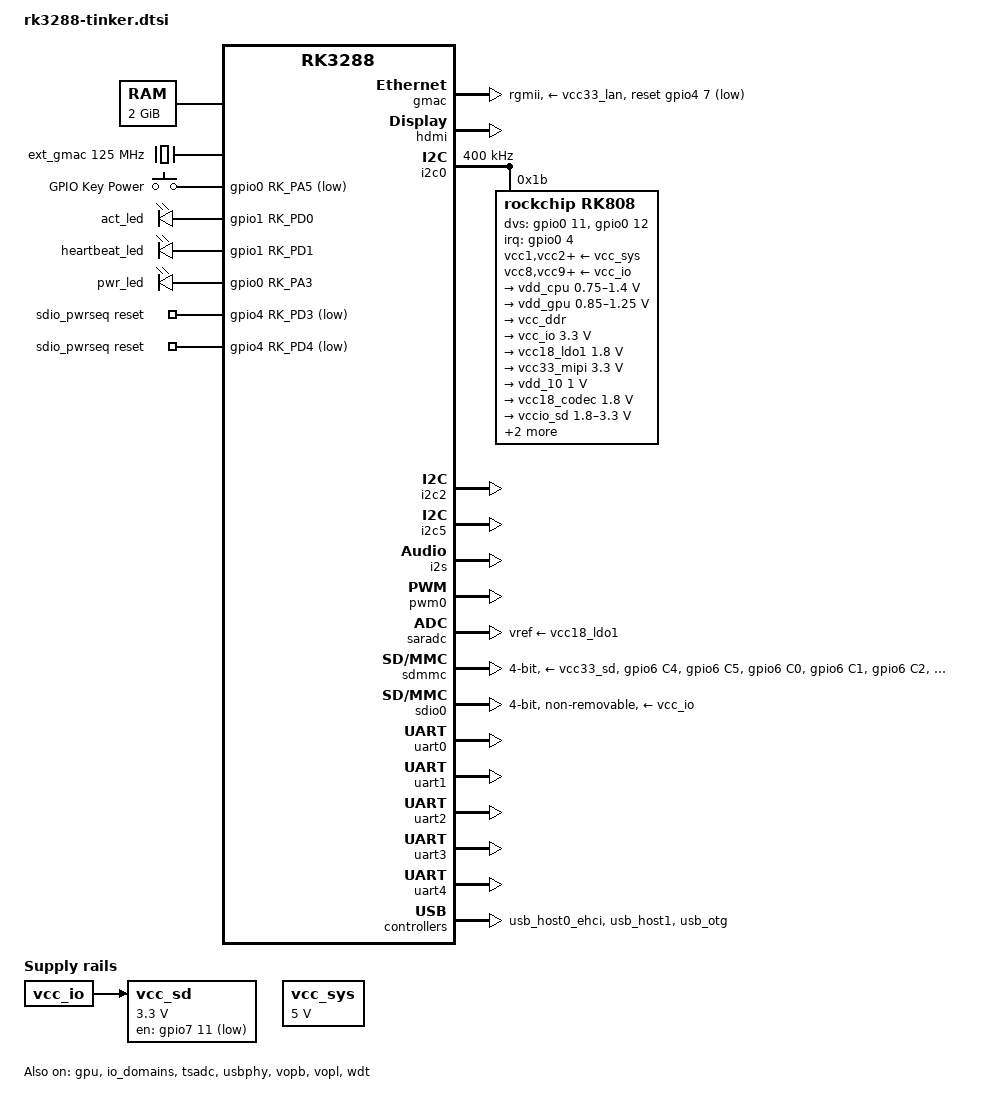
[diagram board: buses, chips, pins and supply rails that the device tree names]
// SPDX-License-Identifier: (GPL-2.0+ OR MIT)
/*
 * Copyright (c) 2017 Fuzhou Rockchip Electronics Co., Ltd.
 */

#include "rk3288.dtsi"
#include <dt-bindings/input/input.h>
#include <dt-bindings/clock/rockchip,rk808.h>

/ {
	chosen {
		stdout-path = "serial2:115200n8";
	};

	memory {
		reg = <0x0 0x0 0x0 0x80000000>;
		device_type = "memory";
	};

	ext_gmac: external-gmac-clock {
		compatible = "fixed-clock";
		#clock-cells = <0>;
		clock-frequency = <125000000>;
		clock-output-names = "ext_gmac";
	};

	gpio-keys {
		compatible = "gpio-keys";
		autorepeat;

		pinctrl-names = "default";
		pinctrl-0 = <&pwrbtn>;

		button {
			gpios = <&gpio0 RK_PA5 GPIO_ACTIVE_LOW>;
			linux,code = <KEY_POWER>;
			label = "GPIO Key Power";
			linux,input-type = <1>;
			wakeup-source;
			debounce-interval = <100>;
		};
	};

	gpio-leds {
		compatible = "gpio-leds";

		act_led: led-0 {
			gpios = <&gpio1 RK_PD0 GPIO_ACTIVE_HIGH>;
			linux,default-trigger = "mmc0";
		};

		heartbeat_led: led-1 {
			gpios = <&gpio1 RK_PD1 GPIO_ACTIVE_HIGH>;
			linux,default-trigger = "heartbeat";
		};

		pwr_led: led-2 {
			gpios = <&gpio0 RK_PA3 GPIO_ACTIVE_HIGH>;
			linux,default-trigger = "default-on";
		};
	};

	sdio_pwrseq: sdio-pwrseq {
		compatible = "mmc-pwrseq-simple";
		clocks = <&rk808 RK808_CLKOUT1>;
		clock-names = "ext_clock";
		pinctrl-names = "default";
		pinctrl-0 = <&wifi_enable>;
		reset-gpios = <&gpio4 RK_PD3 GPIO_ACTIVE_LOW>,
			<&gpio4 RK_PD4 GPIO_ACTIVE_LOW>;
	};

	sound {
		compatible = "simple-audio-card";
		simple-audio-card,format = "i2s";
		simple-audio-card,name = "rockchip,tinker-codec";
		simple-audio-card,mclk-fs = <512>;

		simple-audio-card,codec {
			sound-dai = <&hdmi>;
		};

		simple-audio-card,cpu {
			sound-dai = <&i2s>;
		};
	};

	vcc_sys: regulator-vsys {
		compatible = "regulator-fixed";
		regulator-name = "vcc_sys";
		regulator-min-microvolt = <5000000>;
		regulator-max-microvolt = <5000000>;
		regulator-always-on;
		regulator-boot-on;
	};

	vcc_sd: regulator-sdmmc {
		compatible = "regulator-fixed";
		gpio = <&gpio7 11 GPIO_ACTIVE_LOW>;
		pinctrl-names = "default";
		pinctrl-0 = <&sdmmc_pwr>;
		regulator-name = "vcc_sd";
		regulator-min-microvolt = <3300000>;
		regulator-max-microvolt = <3300000>;
		startup-delay-us = <100000>;
		vin-supply = <&vcc_io>;
	};
};

&cpu0 {
	cpu0-supply = <&vdd_cpu>;
};

&cpu_opp_table {
	opp-1704000000 {
		opp-hz = /bits/ 64 <1704000000>;
		opp-microvolt = <1350000>;
	};
	opp-1800000000 {
		opp-hz = /bits/ 64 <1800000000>;
		opp-microvolt = <1400000>;
	};
};

&gmac {
	assigned-clocks = <&cru SCLK_MAC>;
	assigned-clock-parents = <&ext_gmac>;
	clock_in_out = "input";
	phy-mode = "rgmii";
	phy-supply = <&vcc33_lan>;
	pinctrl-names = "default";
	pinctrl-0 = <&rgmii_pins>;
	snps,reset-gpio = <&gpio4 7 0>;
	snps,reset-active-low;
	snps,reset-delays-us = <0 10000 1000000>;
	tx_delay = <0x30>;
	rx_delay = <0x10>;
	status = "okay";
};

&gpu {
	mali-supply = <&vdd_gpu>;
	status = "okay";
};

&hdmi {
	ddc-i2c-bus = <&i2c5>;
	status = "okay";
};

&i2c0 {
	clock-frequency = <400000>;
	status = "okay";

	rk808: pmic@1b {
		compatible = "rockchip,rk808";
		reg = <0x1b>;
		interrupt-parent = <&gpio0>;
		interrupts = <4 IRQ_TYPE_LEVEL_LOW>;
		#clock-cells = <1>;
		clock-output-names = "xin32k", "rk808-clkout2";
		dvs-gpios = <&gpio0 11 GPIO_ACTIVE_HIGH>,
				<&gpio0 12 GPIO_ACTIVE_HIGH>;
		pinctrl-names = "default";
		pinctrl-0 = <&pmic_int &global_pwroff &dvs_1 &dvs_2>;
		rockchip,system-power-controller;
		wakeup-source;

		vcc1-supply = <&vcc_sys>;
		vcc2-supply = <&vcc_sys>;
		vcc3-supply = <&vcc_sys>;
		vcc4-supply = <&vcc_sys>;
		vcc6-supply = <&vcc_sys>;
		vcc7-supply = <&vcc_sys>;
		vcc8-supply = <&vcc_io>;
		vcc9-supply = <&vcc_io>;
		vcc10-supply = <&vcc_io>;
		vcc11-supply = <&vcc_sys>;
		vcc12-supply = <&vcc_io>;
		vddio-supply = <&vcc_io>;

		regulators {
			vdd_cpu: DCDC_REG1 {
				regulator-always-on;
				regulator-boot-on;
				regulator-min-microvolt = <750000>;
				regulator-max-microvolt = <1400000>;
				regulator-name = "vdd_arm";
				regulator-ramp-delay = <6000>;
				regulator-state-mem {
					regulator-off-in-suspend;
				};
			};

			vdd_gpu: DCDC_REG2 {
				regulator-always-on;
				regulator-boot-on;
				regulator-min-microvolt = <850000>;
				regulator-max-microvolt = <1250000>;
				regulator-name = "vdd_gpu";
				regulator-ramp-delay = <6000>;
				regulator-state-mem {
					regulator-on-in-suspend;
					regulator-suspend-microvolt = <1000000>;
				};
			};

			vcc_ddr: DCDC_REG3 {
				regulator-always-on;
				regulator-boot-on;
				regulator-name = "vcc_ddr";
				regulator-state-mem {
					regulator-on-in-suspend;
				};
			};

			vcc_io: DCDC_REG4 {
				regulator-always-on;
				regulator-boot-on;
				regulator-min-microvolt = <3300000>;
				regulator-max-microvolt = <3300000>;
				regulator-name = "vcc_io";
				regulator-state-mem {
					regulator-on-in-suspend;
					regulator-suspend-microvolt = <3300000>;
				};
			};

			vcc18_ldo1: LDO_REG1 {
				regulator-always-on;
				regulator-boot-on;
				regulator-min-microvolt = <1800000>;
				regulator-max-microvolt = <1800000>;
				regulator-name = "vcc18_ldo1";
				regulator-state-mem {
					regulator-on-in-suspend;
					regulator-suspend-microvolt = <1800000>;
				};
			};

			vcc33_mipi: LDO_REG2 {
				regulator-always-on;
				regulator-boot-on;
				regulator-min-microvolt = <3300000>;
				regulator-max-microvolt = <3300000>;
				regulator-name = "vcc33_mipi";
				regulator-state-mem {
					regulator-off-in-suspend;
				};
			};

			vdd_10: LDO_REG3 {
				regulator-always-on;
				regulator-boot-on;
				regulator-min-microvolt = <1000000>;
				regulator-max-microvolt = <1000000>;
				regulator-name = "vdd_10";
				regulator-state-mem {
					regulator-on-in-suspend;
					regulator-suspend-microvolt = <1000000>;
				};
			};

			vcc18_codec: LDO_REG4 {
				regulator-always-on;
				regulator-boot-on;
				regulator-min-microvolt = <1800000>;
				regulator-max-microvolt = <1800000>;
				regulator-name = "vcc18_codec";
				regulator-state-mem {
					regulator-on-in-suspend;
					regulator-suspend-microvolt = <1800000>;
				};
			};

			vccio_sd: LDO_REG5 {
				regulator-always-on;
				regulator-boot-on;
				regulator-min-microvolt = <1800000>;
				regulator-max-microvolt = <3300000>;
				regulator-name = "vccio_sd";
				regulator-state-mem {
					regulator-on-in-suspend;
					regulator-suspend-microvolt = <3300000>;
				};
			};

			vdd10_lcd: LDO_REG6 {
				regulator-always-on;
				regulator-boot-on;
				regulator-min-microvolt = <1000000>;
				regulator-max-microvolt = <1000000>;
				regulator-name = "vdd10_lcd";
				regulator-state-mem {
					regulator-on-in-suspend;
					regulator-suspend-microvolt = <1000000>;
				};
			};

			vcc_18: LDO_REG7 {
				regulator-always-on;
				regulator-boot-on;
				regulator-min-microvolt = <1800000>;
				regulator-max-microvolt = <1800000>;
				regulator-name = "vcc_18";
				regulator-state-mem {
					regulator-on-in-suspend;
					regulator-suspend-microvolt = <1800000>;
				};
			};

			vcc18_lcd: LDO_REG8 {
				regulator-always-on;
				regulator-boot-on;
				regulator-min-microvolt = <1800000>;
				regulator-max-microvolt = <1800000>;
				regulator-name = "vcc18_lcd";
				regulator-state-mem {
					regulator-on-in-suspend;
					regulator-suspend-microvolt = <1800000>;
				};
			};

			vcc33_sd: SWITCH_REG1 {
				regulator-always-on;
				regulator-boot-on;
				regulator-name = "vcc33_sd";
				regulator-state-mem {
					regulator-on-in-suspend;
				};
			};

			vcc33_lan: SWITCH_REG2 {
				regulator-always-on;
				regulator-boot-on;
				regulator-name = "vcc33_lan";
				regulator-state-mem {
					regulator-on-in-suspend;
				};
			};
		};
	};
};

&i2c2 {
	status = "okay";
};

&i2c5 {
	status = "okay";
};

&i2s {
	#sound-dai-cells = <0>;
	status = "okay";
};

&io_domains {
	status = "okay";

	sdcard-supply = <&vccio_sd>;
	wifi-supply = <&vcc_18>;
};

&pinctrl {
	pcfg_pull_none_drv_8ma: pcfg-pull-none-drv-8ma {
		drive-strength = <8>;
	};

	pcfg_pull_up_drv_8ma: pcfg-pull-up-drv-8ma {
		bias-pull-up;
		drive-strength = <8>;
	};

	backlight {
		bl_en: bl-en {
			rockchip,pins = <7 RK_PA2 RK_FUNC_GPIO &pcfg_pull_none>;
		};
	};

	buttons {
		pwrbtn: pwrbtn {
			rockchip,pins = <0 RK_PA5 RK_FUNC_GPIO &pcfg_pull_up>;
		};
	};

	eth_phy {
		eth_phy_pwr: eth-phy-pwr {
			rockchip,pins = <0 RK_PA6 RK_FUNC_GPIO &pcfg_pull_none>;
		};
	};

	pmic {
		pmic_int: pmic-int {
			rockchip,pins = <0 RK_PA4 RK_FUNC_GPIO &pcfg_pull_up>;
		};

		dvs_1: dvs-1 {
			rockchip,pins = <0 RK_PB3 RK_FUNC_GPIO &pcfg_pull_down>;
		};

		dvs_2: dvs-2 {
			rockchip,pins = <0 RK_PB4 RK_FUNC_GPIO &pcfg_pull_down>;
		};
	};

	sdmmc {
		sdmmc_bus4: sdmmc-bus4 {
			rockchip,pins = <6 RK_PC0 1 &pcfg_pull_up_drv_8ma>,
					<6 RK_PC1 1 &pcfg_pull_up_drv_8ma>,
					<6 RK_PC2 1 &pcfg_pull_up_drv_8ma>,
					<6 RK_PC3 1 &pcfg_pull_up_drv_8ma>;
		};

		sdmmc_clk: sdmmc-clk {
			rockchip,pins = <6 RK_PC4 1 &pcfg_pull_none_drv_8ma>;
		};

		sdmmc_cmd: sdmmc-cmd {
			rockchip,pins = <6 RK_PC5 1 &pcfg_pull_up_drv_8ma>;
		};

		sdmmc_pwr: sdmmc-pwr {
			rockchip,pins = <7 RK_PB3 RK_FUNC_GPIO &pcfg_pull_none>;
		};
	};

	usb {
		host_vbus_drv: host-vbus-drv {
			rockchip,pins = <0 RK_PB6 RK_FUNC_GPIO &pcfg_pull_none>;
		};

		pwr_3g: pwr-3g {
			rockchip,pins = <7 RK_PB0 RK_FUNC_GPIO &pcfg_pull_none>;
		};
	};

	sdio {
		wifi_enable: wifi-enable {
			rockchip,pins = <4 RK_PD3 RK_FUNC_GPIO &pcfg_pull_none>,
					<4 RK_PD4 RK_FUNC_GPIO &pcfg_pull_none>;
		};
	};
};

&pwm0 {
	status = "okay";
};

&saradc {
	vref-supply = <&vcc18_ldo1>;
	status = "okay";
};

&sdmmc {
	bus-width = <4>;
	cap-mmc-highspeed;
	cap-sd-highspeed;
	broken-cd;
	disable-wp;			/* wp not hooked up */
	pinctrl-names = "default";
	pinctrl-0 = <&sdmmc_clk &sdmmc_cmd &sdmmc_cd &sdmmc_bus4>;
	status = "okay";
	vmmc-supply = <&vcc33_sd>;
	vqmmc-supply = <&vccio_sd>;
};

&sdio0 {
	bus-width = <4>;
	cap-sd-highspeed;
	cap-sdio-irq;
	keep-power-in-suspend;
	max-frequency = <50000000>;
	mmc-pwrseq = <&sdio_pwrseq>;
	non-removable;
	pinctrl-names = "default";
	pinctrl-0 = <&sdio0_bus4>, <&sdio0_cmd>, <&sdio0_clk>, <&sdio0_int>;
	sd-uhs-sdr12;
	sd-uhs-sdr25;
	sd-uhs-sdr50;
	vmmc-supply = <&vcc_io>;
	vqmmc-supply = <&vcc_18>;
	status = "okay";
};

&tsadc {
	rockchip,hw-tshut-mode = <1>; /* tshut mode 0:CRU 1:GPIO */
	rockchip,hw-tshut-polarity = <1>; /* tshut polarity 0:LOW 1:HIGH */
	status = "okay";
};

&uart0 {
	status = "okay";
};

&uart1 {
	status = "okay";
};

&uart2 {
	status = "okay";
};

&uart3 {
	status = "okay";
};

&uart4 {
	status = "okay";
};

&usbphy {
	status = "okay";
};

&usb_host0_ehci {
	status = "okay";
};

&usb_host1 {
	status = "okay";
};

&usb_otg {
	status = "okay";
};

&vopb {
	status = "okay";
};

&vopb_mmu {
	status = "okay";
};

&vopl {
	status = "okay";
};

&vopl_mmu {
	status = "okay";
};

&wdt {
	status = "okay";
};
